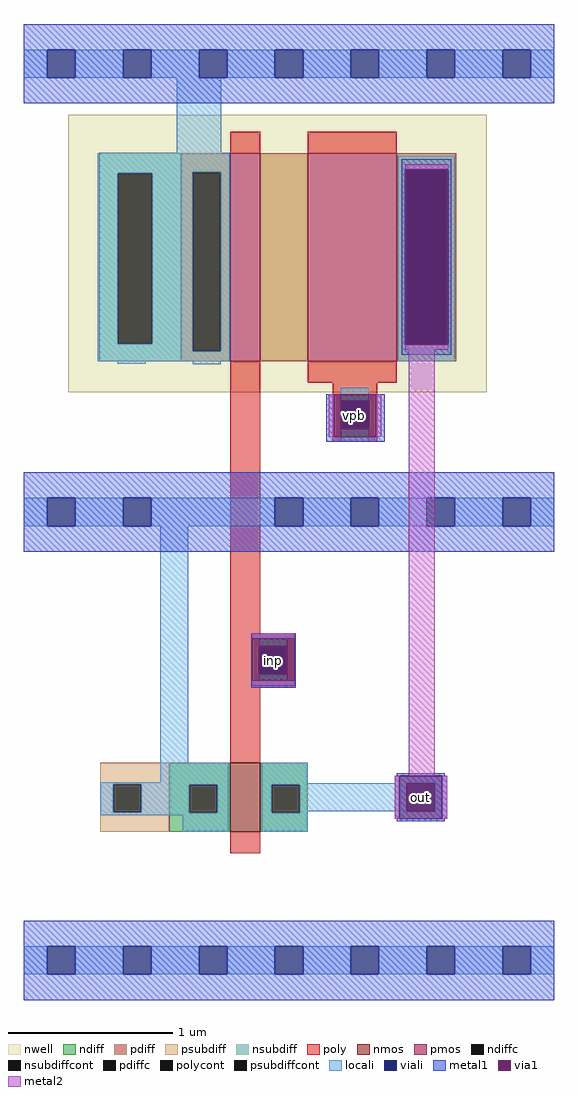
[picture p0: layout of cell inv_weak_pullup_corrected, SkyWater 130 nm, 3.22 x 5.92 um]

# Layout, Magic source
magic
tech sky130B
magscale 1 2
<< nwell >>
rect 1 458 509 795
<< nmos >>
rect 198 -75 234 9
<< pmos >>
rect 198 496 234 748
rect 292 496 400 748
<< ndiff >>
rect 124 -18 198 9
rect 124 -52 148 -18
rect 182 -52 198 -18
rect 124 -75 198 -52
rect 234 -18 292 9
rect 234 -52 248 -18
rect 282 -52 292 -18
rect 234 -75 292 -52
<< pdiff >>
rect 138 725 198 748
rect 138 508 152 725
rect 186 508 198 725
rect 138 496 198 508
rect 234 496 292 748
rect 400 729 472 748
rect 400 516 412 729
rect 460 516 472 729
rect 400 496 472 516
<< ndiffc >>
rect 148 -52 182 -18
rect 248 -52 282 -18
<< pdiffc >>
rect 152 508 186 725
rect 412 516 460 729
<< psubdiff >>
rect 40 -17 124 9
rect 40 -51 56 -17
rect 90 -51 124 -17
rect 40 -75 124 -51
<< nsubdiff >>
rect 37 724 138 748
rect 37 517 61 724
rect 103 517 138 724
rect 37 496 138 517
<< psubdiffcont >>
rect 56 -51 90 -17
<< nsubdiffcont >>
rect 61 517 103 724
<< poly >>
rect 198 748 234 774
rect 292 748 400 774
rect 198 166 234 496
rect 292 470 400 496
rect 322 448 376 470
rect 322 414 332 448
rect 366 414 376 448
rect 322 398 376 414
rect 198 150 277 166
rect 198 116 233 150
rect 267 116 277 150
rect 198 100 277 116
rect 198 9 234 100
rect 198 -101 234 -75
<< polycont >>
rect 332 414 366 448
rect 233 116 267 150
<< locali >>
rect -53 840 -24 874
rect 10 840 68 874
rect 102 840 160 874
rect 194 840 252 874
rect 286 840 344 874
rect 378 840 436 874
rect 470 840 528 874
rect 562 840 591 874
rect 133 749 187 840
rect 39 725 197 749
rect 39 724 152 725
rect 39 517 61 724
rect 103 517 152 724
rect 39 508 152 517
rect 186 508 197 725
rect 39 496 197 508
rect 401 729 470 745
rect 401 516 412 729
rect 460 516 470 729
rect 401 496 470 516
rect 61 493 95 496
rect 152 492 186 496
rect 332 448 366 464
rect 332 398 366 414
rect -53 296 -24 330
rect 10 296 68 330
rect 102 296 252 330
rect 286 296 344 330
rect 378 296 436 330
rect 470 296 528 330
rect 562 296 591 330
rect 113 9 147 296
rect 233 150 267 166
rect 233 100 267 116
rect 113 -15 196 9
rect 40 -17 196 -15
rect 40 -51 56 -17
rect 90 -18 196 -17
rect 90 -51 148 -18
rect 40 -52 148 -51
rect 182 -52 196 -18
rect 40 -55 196 -52
rect 140 -75 196 -55
rect 236 -16 292 9
rect 397 -16 461 -7
rect 236 -18 412 -16
rect 236 -52 248 -18
rect 282 -50 412 -18
rect 446 -50 461 -16
rect 282 -52 292 -50
rect 236 -75 292 -52
rect 397 -59 461 -50
rect -53 -248 -24 -214
rect 10 -248 68 -214
rect 102 -248 160 -214
rect 194 -248 252 -214
rect 286 -248 344 -214
rect 378 -248 436 -214
rect 470 -248 528 -214
rect 562 -248 591 -214
<< viali >>
rect -24 840 10 874
rect 68 840 102 874
rect 160 840 194 874
rect 252 840 286 874
rect 344 840 378 874
rect 436 840 470 874
rect 528 840 562 874
rect 412 516 460 729
rect 332 414 366 448
rect -24 296 10 330
rect 68 296 102 330
rect 252 296 286 330
rect 344 296 378 330
rect 436 296 470 330
rect 528 296 562 330
rect 233 116 267 150
rect 412 -50 446 -16
rect -24 -248 10 -214
rect 68 -248 102 -214
rect 160 -248 194 -214
rect 252 -248 286 -214
rect 344 -248 378 -214
rect 436 -248 470 -214
rect 528 -248 562 -214
<< metal1 >>
rect -53 874 591 905
rect -53 840 -24 874
rect 10 840 68 874
rect 102 840 160 874
rect 194 840 252 874
rect 286 840 344 874
rect 378 840 436 874
rect 470 840 528 874
rect 562 840 591 874
rect -53 809 591 840
rect 406 729 466 741
rect 406 516 410 729
rect 462 516 466 729
rect 406 504 466 516
rect 314 404 323 456
rect 375 404 385 456
rect 314 398 385 404
rect -53 330 591 361
rect -53 296 -24 330
rect 10 296 68 330
rect 102 296 252 330
rect 286 296 344 330
rect 378 296 436 330
rect 470 296 528 330
rect 562 296 591 330
rect -53 265 591 296
rect 223 160 277 166
rect 223 108 224 160
rect 276 108 277 160
rect 223 100 277 108
rect 400 -7 458 -4
rect 397 -59 403 -7
rect 455 -59 461 -7
rect 400 -62 458 -59
rect -53 -214 591 -183
rect -53 -248 -24 -214
rect 10 -248 68 -214
rect 102 -248 160 -214
rect 194 -248 252 -214
rect 286 -248 344 -214
rect 378 -248 436 -214
rect 470 -248 528 -214
rect 562 -248 591 -214
rect -53 -279 591 -248
<< via1 >>
rect 410 516 412 729
rect 412 516 460 729
rect 460 516 462 729
rect 323 448 375 456
rect 323 414 332 448
rect 332 414 366 448
rect 366 414 375 448
rect 323 404 375 414
rect 224 150 276 160
rect 224 116 233 150
rect 233 116 267 150
rect 267 116 276 150
rect 224 108 276 116
rect 403 -16 455 -7
rect 403 -50 412 -16
rect 412 -50 446 -16
rect 446 -50 455 -16
rect 403 -59 455 -50
<< metal2 >>
rect 410 729 462 735
rect 410 510 462 516
rect 317 404 323 456
rect 375 404 381 456
rect 224 160 276 166
rect 224 102 276 108
rect 414 -7 446 510
rect 397 -59 403 -7
rect 455 -59 461 -7
<< labels >>
flabel metal2 317 404 381 456 0 FreeSans 160 0 0 0 vpb
flabel metal2 397 -59 461 -7 0 FreeSans 160 0 0 0 out
flabel poly 223 100 277 166 0 FreeSans 160 0 0 0 inp
<< end >>
